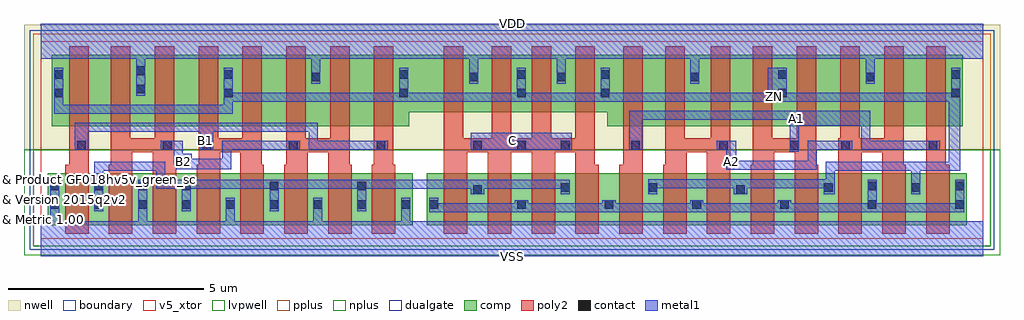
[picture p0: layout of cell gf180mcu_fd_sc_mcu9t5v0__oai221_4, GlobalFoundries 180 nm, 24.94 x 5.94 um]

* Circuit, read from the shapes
.subckt gf180mcu_fd_sc_mcu9t5v0__oai221_4 A1 A2 B1 B2 C VDD VSS ZN
XM1 n1 B1 VSS VSUBS nfet_05v0 w=1.32u l=0.6u m=4
XM2 VSS B2 n1 VSUBS nfet_05v0 w=1.32u l=0.6u m=4
XM3 n1 C n2 VSUBS nfet_05v0 w=1.32u l=0.6u m=4
XM4 ZN A1 n2 VSUBS nfet_05v0 w=1.32u l=0.6u m=4
XM5 n2 A2 ZN VSUBS nfet_05v0 w=1.32u l=0.6u m=4
XM6 n3 B1 ZN n4 pfet_05v0 w=1.83u l=0.5u
XM7 VDD B2 n3 n4 pfet_05v0 w=1.83u l=0.5u
XM8 n5 B2 VDD n4 pfet_05v0 w=1.83u l=0.5u
XM9 ZN B1 n5 n4 pfet_05v0 w=1.83u l=0.5u
XM10 n6 B1 ZN n4 pfet_05v0 w=1.83u l=0.5u
XM11 VDD B2 n6 n4 pfet_05v0 w=1.83u l=0.5u
XM12 n7 B2 VDD n4 pfet_05v0 w=1.83u l=0.5u
XM13 ZN B1 n7 n4 pfet_05v0 w=1.83u l=0.5u
XM14 VDD C ZN n4 pfet_05v0 w=1.46u l=0.5u m=4
XM15 n8 A1 ZN n4 pfet_05v0 w=1.83u l=0.5u
XM16 VDD A2 n8 n4 pfet_05v0 w=1.83u l=0.5u
XM17 n9 A2 VDD n4 pfet_05v0 w=1.83u l=0.5u
XM18 ZN A1 n9 n4 pfet_05v0 w=1.83u l=0.5u
XM19 n10 A1 ZN n4 pfet_05v0 w=1.83u l=0.5u
XM20 VDD A2 n10 n4 pfet_05v0 w=1.83u l=0.5u
XM21 n11 A2 VDD n4 pfet_05v0 w=1.83u l=0.5u
XM22 ZN A1 n11 n4 pfet_05v0 w=1.83u l=0.5u
.ends

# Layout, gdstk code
import gdstk
lib = gdstk.Library(unit=1e-6, precision=1e-09)
def R(c, l, rs):  # rectangles x0, y0, x1, y1
    for r in rs: c.add(gdstk.rectangle(r[:2], r[2:], *l))
def A(c, l, x, y, w, h, nx, ny, dx, dy):  # array of equal rectangles
    R(c, l, [(x+i*dx, y+j*dy, x+i*dx+w, y+j*dy+h) for i in range(nx) for j in range(ny)])
def P(c, l, *ps):  # polygons
    for p in ps: c.add(gdstk.Polygon(p, *l))
boundary = (0, 0)
nwell = (21, 0)
comp = (22, 0)
poly2 = (30, 0)
pplus = (31, 0)
nplus = (32, 0)
contact = (33, 0)
metal1 = (34, 0)
dualgate = (55, 0)
v5_xtor = (112, 1)
lvpwell = (204, 0)

gf180mcu_fd_sc_mcu9t5v0_ = lib.new_cell('gf180mcu_fd_sc_mcu9t5v0__oai221_4')
R(gf180mcu_fd_sc_mcu9t5v0_, boundary, [(0,0,24.08,5.04)])
R(gf180mcu_fd_sc_mcu9t5v0_, nwell, [(-0.43,2.265,24.51,5.47)])
R(gf180mcu_fd_sc_mcu9t5v0_, comp, [(0.18,0.345,9.5,1.665), (9.86,0.345,23.66,1.665)])
P(gf180mcu_fd_sc_mcu9t5v0_, comp, [(0.28,2.865),(0.28,4.695),(23.56,4.695),(23.56,2.865),(14.48,2.865),(14.48,3.235),(9.41,3.235),(9.41,2.865)])
P(gf180mcu_fd_sc_mcu9t5v0_, poly2, [(0.62,0.125),(0.62,1.885),(0.72,1.885),(0.72,4.915),(1.22,4.915),(1.22,0.125)],
  [(1.74,0.125),(1.74,1.885),(1.79,1.885),(1.79,4.915),(2.29,4.915),(2.29,2.565),(2.91,2.565),(2.91,4.915),(3.41,4.915),(3.41,1.885),(3.46,1.885),(3.46,0.125),(2.86,0.125),(2.86,2.205),(2.34,2.205),(2.34,0.125)],
  [(3.98,0.125),(3.98,1.885),(4.03,1.885),(4.03,4.915),(4.53,4.915),(4.53,2.565),(5.15,2.565),(5.15,4.915),(5.65,4.915),(5.65,1.885),(5.7,1.885),(5.7,0.125),(5.1,0.125),(5.1,2.205),(4.58,2.205),(4.58,0.125)],
  [(6.22,0.125),(6.22,1.885),(6.27,1.885),(6.27,4.915),(6.77,4.915),(6.77,2.565),(7.39,2.565),(7.39,4.915),(7.89,4.915),(7.89,1.885),(7.94,1.885),(7.94,0.125),(7.34,0.125),(7.34,2.205),(6.82,2.205),(6.82,0.125)],
  [(8.46,0.125),(8.46,1.885),(8.51,1.885),(8.51,4.915),(9.01,4.915),(9.01,1.885),(9.06,1.885),(9.06,0.125)],
  [(10.3,0.125),(10.3,4.915),(10.8,4.915),(10.8,2.565),(11.52,2.565),(11.52,4.915),(12.02,4.915),(12.02,2.565),(12.54,2.565),(12.54,4.915),(13.04,4.915),(13.04,2.565),(13.66,2.565),(13.66,4.915),(14.16,4.915),(14.16,1.885),(14.26,1.885),(14.26,0.125),(13.66,0.125),(13.66,2.205),(13.14,2.205),(13.14,0.125),(12.54,0.125),(12.54,2.205),(12.02,2.205),(12.02,0.125),(11.42,0.125),(11.42,2.205),(10.9,2.205),(10.9,0.125)],
  [(14.78,0.125),(14.78,1.885),(14.88,1.885),(14.88,4.915),(15.38,4.915),(15.38,0.125)],
  [(15.9,0.125),(15.9,1.885),(15.95,1.885),(15.95,4.915),(16.45,4.915),(16.45,2.565),(17.12,2.565),(17.12,4.915),(17.62,4.915),(17.62,0.125),(17.02,0.125),(17.02,2.205),(16.5,2.205),(16.5,0.125)],
  [(18.14,0.125),(18.14,1.885),(18.19,1.885),(18.19,4.915),(18.69,4.915),(18.69,2.565),(19.31,2.565),(19.31,4.915),(19.81,4.915),(19.81,1.885),(19.86,1.885),(19.86,0.125),(19.26,0.125),(19.26,2.205),(18.74,2.205),(18.74,0.125)],
  [(20.38,0.125),(20.38,2.565),(20.43,2.565),(20.43,4.915),(20.93,4.915),(20.93,2.565),(21.55,2.565),(21.55,4.915),(22.05,4.915),(22.05,1.885),(22.1,1.885),(22.1,0.125),(21.5,0.125),(21.5,2.205),(20.98,2.205),(20.98,0.125)],
  [(22.62,0.125),(22.62,4.915),(23.12,4.915),(23.12,1.885),(23.22,1.885),(23.22,0.125)])
R(gf180mcu_fd_sc_mcu9t5v0_, pplus, [(-0.2,2.265,24.28,5.24)])
R(gf180mcu_fd_sc_mcu9t5v0_, nplus, [(-0.2,-0.2,24.28,2.265)])
A(gf180mcu_fd_sc_mcu9t5v0_, contact, 0.25, 0.76, 0.22, 0.22, 9, 1, 1.12, 0)
A(gf180mcu_fd_sc_mcu9t5v0_, contact, 9.93, 0.76, 0.22, 0.22, 7, 1, 2.24, 0)
A(gf180mcu_fd_sc_mcu9t5v0_, contact, 0.25, 1.23, 0.22, 0.22, 4, 1, 1.12, 0)
A(gf180mcu_fd_sc_mcu9t5v0_, contact, 11.05, 2.275, 0.22, 0.22, 3, 1, 1.12, 0)
R(gf180mcu_fd_sc_mcu9t5v0_, contact, [(11.05,1.145,11.27,1.365), (17.77,1.145,17.99,1.365), (13.29,1.2,13.51,1.42), (15.53,1.2,15.75,1.42), (20.01,1.2,20.23,1.42), (22.25,1.2,22.47,1.42), (5.85,1.23,6.07,1.45), (8.09,1.23,8.31,1.45), (21.13,1.23,21.35,1.45), (23.37,1.23,23.59,1.45), (0.93,2.275,1.15,2.495), (3.12,2.275,3.34,2.495), (4.13,2.275,4.35,2.495), (6.34,2.275,6.56,2.495), (8.58,2.275,8.8,2.495), (15.09,2.275,15.31,2.495), (17.33,2.275,17.55,2.495), (19.145,2.275,19.365,2.495), (20.45,2.275,20.67,2.495), (22.69,2.275,22.91,2.495), (0.35,3.61,0.57,3.83), (4.68,3.61,4.9,3.83), (9.16,3.61,9.38,3.83), (12.17,3.61,12.39,3.83), (14.31,3.61,14.53,3.83), (18.84,3.61,19.06,3.83), (23.27,3.61,23.49,3.83), (2.44,3.71,2.66,3.93), (6.92,4.02,7.14,4.24), (10.95,4.02,11.17,4.24), (13.19,4.02,13.41,4.24), (16.6,4.02,16.82,4.24), (21.08,4.02,21.3,4.24), (0.35,4.08,0.57,4.3), (4.68,4.08,4.9,4.3), (9.16,4.08,9.38,4.3), (12.17,4.08,12.39,4.3), (14.31,4.08,14.53,4.3), (18.84,4.08,19.06,4.3), (23.27,4.08,23.49,4.3), (2.44,4.18,2.66,4.4)])
R(gf180mcu_fd_sc_mcu9t5v0_, metal1, [(10.99,2.27,13.57,2.71)])
P(gf180mcu_fd_sc_mcu9t5v0_, metal1, [(3.46,1.77),(3.46,2.02),(3.4,2.02),(3.4,2.27),(3.06,2.27),(3.06,2.5),(3.63,2.5),(3.63,2.175),(3.86,2.175),(3.86,2.04),(4.64,2.04),(4.64,2.5),(6.62,2.5),(6.62,2.27),(4.87,2.27),(4.87,1.77)],
  [(0.87,2.27),(0.87,2.96),(7.08,2.96),(7.08,2.5),(8.86,2.5),(8.86,2.27),(6.85,2.27),(6.85,2.73),(4.41,2.73),(4.41,2.27),(4.07,2.27),(4.07,2.73),(1.21,2.73),(1.21,2.27)],
  [(1.365,0.7),(1.365,1.97),(3.175,1.97),(3.175,1.51),(13.515,1.51),(13.515,1.14),(13.285,1.14),(13.285,1.28),(11.33,1.28),(11.33,1.14),(10.99,1.14),(10.99,1.28),(8.315,1.28),(8.315,0.7),(8.085,0.7),(8.085,1.28),(6.075,1.28),(6.075,0.7),(5.845,0.7),(5.845,1.28),(3.835,1.28),(3.835,0.7),(3.605,0.7),(3.605,1.28),(2.945,1.28),(2.945,1.74),(1.595,1.74),(1.595,0.7)],
  [(17.51,1.755),(17.51,2.27),(17.27,2.27),(17.27,2.5),(17.77,2.5),(17.77,1.985),(19.6,1.985),(19.6,2.5),(20.73,2.5),(20.73,2.27),(19.83,2.27),(19.83,1.755)],
  [(19.14,2.215),(19.14,3.04),(15.37,3.04),(15.37,2.27),(15.03,2.27),(15.03,3.27),(21.19,3.27),(21.19,2.5),(22.97,2.5),(22.97,2.27),(20.96,2.27),(20.96,2.89),(19.37,2.89),(19.37,2.215)],
  [(15.525,1.14),(15.525,1.52),(20.06,1.52),(20.06,1.97),(23.2,1.97),(23.2,3.5),(4.905,3.5),(4.905,3.19),(0.345,3.19),(0.345,4.36),(0.575,4.36),(0.575,3.42),(4.675,3.42),(4.675,4.36),(4.905,4.36),(4.905,3.73),(9.155,3.73),(9.155,4.36),(9.385,4.36),(9.385,3.73),(12.165,3.73),(12.165,4.36),(12.395,4.36),(12.395,3.73),(14.305,3.73),(14.305,4.36),(14.535,4.36),(14.535,3.73),(18.57,3.73),(18.57,4.36),(19.065,4.36),(19.065,3.73),(23.265,3.73),(23.265,4.36),(23.495,4.36),(23.495,1.74),(22.475,1.74),(22.475,1.14),(22.245,1.14),(22.245,1.74),(20.29,1.74),(20.29,1.14),(20.005,1.14),(20.005,1.29),(18.05,1.29),(18.05,1.14),(17.71,1.14),(17.71,1.29),(15.755,1.29),(15.755,1.14)],
  [(9.925,0.68),(9.925,1.04),(10.155,1.04),(10.155,0.91),(12.11,0.91),(12.11,0.985),(12.45,0.985),(12.45,0.91),(14.35,0.91),(14.35,0.985),(14.69,0.985),(14.69,0.91),(16.59,0.91),(16.59,0.985),(16.93,0.985),(16.93,0.91),(18.83,0.91),(18.83,0.985),(19.17,0.985),(19.17,0.91),(21.125,0.91),(21.125,1.51),(21.355,1.51),(21.355,0.91),(23.365,0.91),(23.365,1.51),(23.595,1.51),(23.595,0.68)],
  [(0,-0.45),(0,0.45),(0.245,0.45),(0.245,1.51),(0.475,1.51),(0.475,0.45),(2.485,0.45),(2.485,1.51),(2.715,1.51),(2.715,0.45),(4.725,0.45),(4.725,1.04),(4.955,1.04),(4.955,0.45),(6.965,0.45),(6.965,1.04),(7.195,1.04),(7.195,0.45),(9.205,0.45),(9.205,1.04),(9.435,1.04),(9.435,0.45),(24.08,0.45),(24.08,-0.45)],
  [(2.435,3.65),(2.435,4.59),(0,4.59),(0,5.49),(24.08,5.49),(24.08,4.59),(21.305,4.59),(21.305,3.96),(21.075,3.96),(21.075,4.59),(16.825,4.59),(16.825,3.96),(16.595,3.96),(16.595,4.59),(13.415,4.59),(13.415,3.96),(13.185,3.96),(13.185,4.59),(11.175,4.59),(11.175,3.96),(10.945,3.96),(10.945,4.59),(7.145,4.59),(7.145,3.96),(6.915,3.96),(6.915,4.59),(2.665,4.59),(2.665,3.65)])
R(gf180mcu_fd_sc_mcu9t5v0_, dualgate, [(-0.28,-0.28,24.36,5.32)])
R(gf180mcu_fd_sc_mcu9t5v0_, v5_xtor, [(0,0,24.08,5.04)])
R(gf180mcu_fd_sc_mcu9t5v0_, lvpwell, [(-0.43,-0.43,24.51,2.265)])
gf180mcu_fd_sc_mcu9t5v0_.add(gdstk.Label('A1', (19.32,3.08), layer=34, texttype=10))
gf180mcu_fd_sc_mcu9t5v0_.add(gdstk.Label('A2', (17.64,1.96), layer=34, texttype=10))
gf180mcu_fd_sc_mcu9t5v0_.add(gdstk.Label('B1', (4.2,2.52), layer=34, texttype=10))
gf180mcu_fd_sc_mcu9t5v0_.add(gdstk.Label('B2', (3.64,1.96), layer=34, texttype=10))
gf180mcu_fd_sc_mcu9t5v0_.add(gdstk.Label('C', (12.04,2.52), layer=34, texttype=10))
gf180mcu_fd_sc_mcu9t5v0_.add(gdstk.Label('VDD', (12.04,5.49), layer=34, texttype=10))
gf180mcu_fd_sc_mcu9t5v0_.add(gdstk.Label('VSS', (12.04,-0.45), layer=34, texttype=10))
gf180mcu_fd_sc_mcu9t5v0_.add(gdstk.Label('ZN', (18.76,3.64), layer=34, texttype=10))
gf180mcu_fd_sc_mcu9t5v0_.add(gdstk.Label('& Vendor GLOBALFOUNDRIES', (0,2), layer=63, texttype=63))
gf180mcu_fd_sc_mcu9t5v0_.add(gdstk.Label('& Product GF018hv5v_green_sc9', (0,1.5), layer=63, texttype=63))
gf180mcu_fd_sc_mcu9t5v0_.add(gdstk.Label('& Version 2015q2v2', (0,1), layer=63, texttype=63))
gf180mcu_fd_sc_mcu9t5v0_.add(gdstk.Label('& Metric 1.00', (0,0.5), layer=63, texttype=63))

lib.write_gds('gf180mcu_fd_sc_mcu9t5v0__oai221_4.gds')
